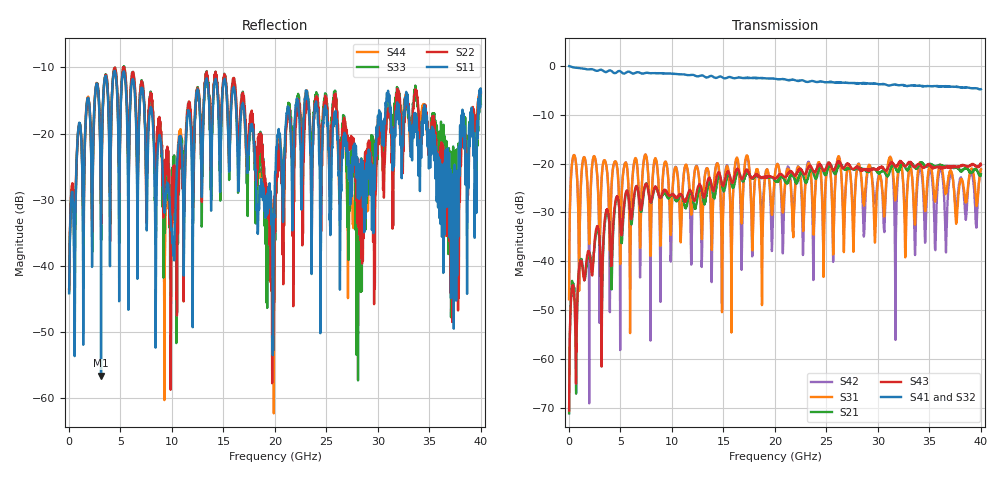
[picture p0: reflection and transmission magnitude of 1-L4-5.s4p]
! MS46524B
! 2118201/M1: 21072234/M2: 20492244
! 10/22/2024 6:47:11 PM
! C:\VNA DATA\LC3-SMK\AD5613\22VAD5613Q\LOT-805\差動\1-L4-4.S4P
! CHANNEL.1
! TR.MEASUREMENT
! CORRECTED.DATA
# GHZ S RI R 50.0
! FREQ.GHZ  S11RE  S11IM  S12RE  S12IM  S13RE  S13IM  S14RE  S14IM
!  S21RE  S21IM  S22RE  S22IM  S23RE  S23IM  S24RE  S24IM
!  S31RE  S31IM  S32RE  S32IM  S33RE  S33IM  S34RE  S34IM
!  S41RE  S41IM  S42RE  S42IM  S43RE  S43IM  S44RE  S44IM
!; PortSelection: Port_1234
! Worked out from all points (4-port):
!   4000 points, 10 MHz to 40 GHz, reference 50 ohm
!   strongest paths, dB at 10 MHz, 10.01 GHz, 20.01 GHz, 30.01 GHz, 40 GHz:
!     S41: -0.1, -1.6, -2.6, -3.7, -4.8
!     S32: -0.1, -1.6, -2.7, -3.8, -5.0
!     S43: -70.6, -26.3, -23.0, -21.0, -20.2
!     S21: -71.1, -26.2, -23.3, -21.8, -22.2
!     S31: -47.8, -27.1, -22.0, -23.4, -21.2
!     S42: -47.7, -27.9, -22.3, -23.2, -21.2
!   lowest |S11| = -56.6 dB at 3.11 GHz (marker M1), VSWR 1.00, Z = 49.9 - j0.121 ohm
!   |S11| at or under -10 dB: start of sweep to end of sweep
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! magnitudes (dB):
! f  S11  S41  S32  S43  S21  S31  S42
! 10 MHz  -44.1  -0.1  -0.1  -70.6  -71.1  -47.8  -47.7
! 3.11 GHz  -56.6  -0.8  -0.8  -44.9  -43.0  -25.6  -25.9
! 16 GHz  -13.0  -2.5  -2.7  -23.3  -24.8  -23.3  -23.4
! 19.73 GHz  -33.5  -2.6  -2.6  -22.8  -22.9  -30.4  -36.6
! 22.25 GHz  -15.1  -3.1  -3.1  -21.4  -23.5  -20.7  -20.6
! 37.24 GHz  -41.4  -4.3  -4.5  -20.6  -20.8  -22.7  -22.9
! 40 GHz  -13.8  -4.8  -5.0  -20.2  -22.2  -21.2  -21.2
